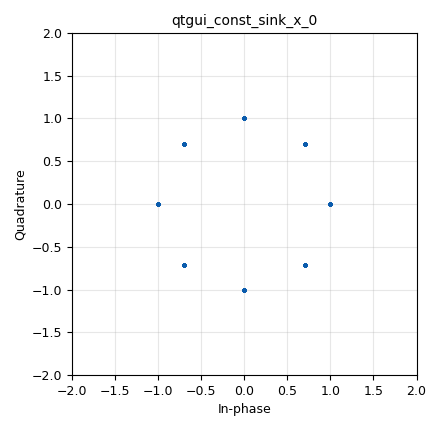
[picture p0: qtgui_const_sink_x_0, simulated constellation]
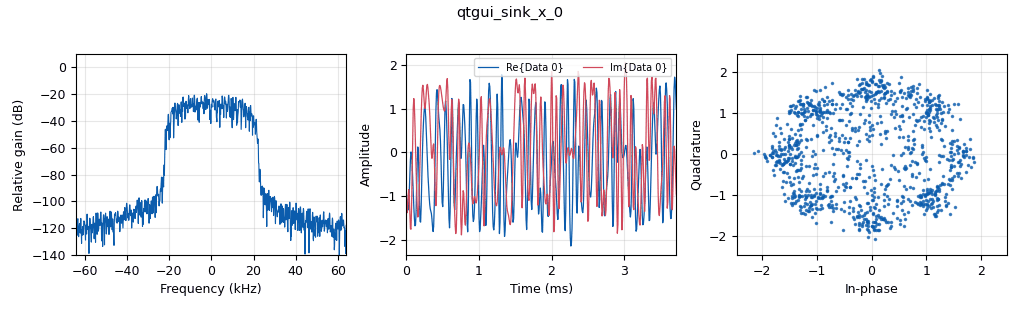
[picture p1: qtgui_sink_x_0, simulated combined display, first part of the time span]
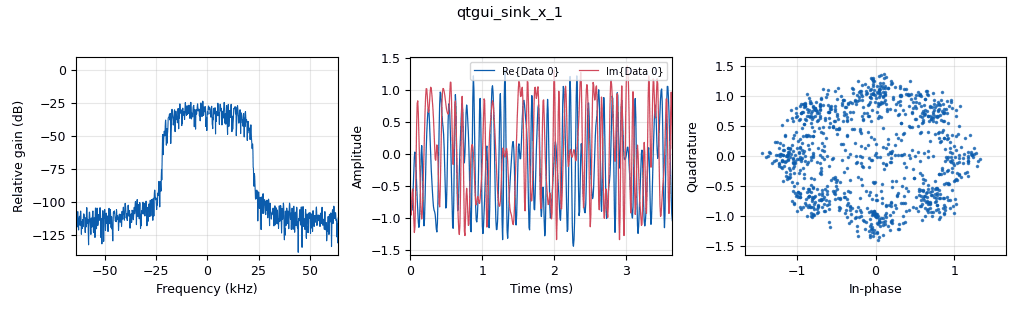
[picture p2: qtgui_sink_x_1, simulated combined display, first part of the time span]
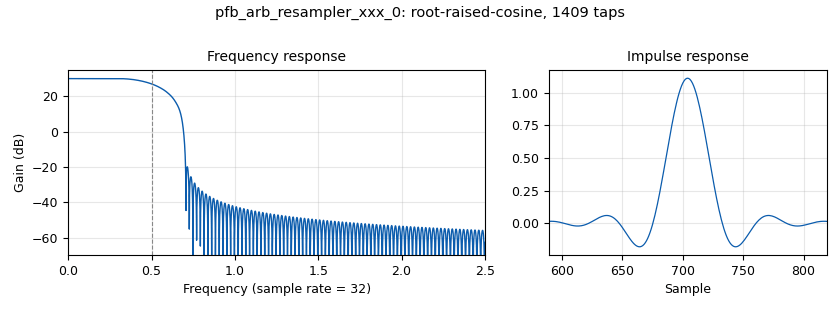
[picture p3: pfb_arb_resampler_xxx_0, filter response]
options:
  parameters:
    author: sumeet
    generate_options: qt_gui
    id: Task1
    output_language: python
    title: Not titled yet
  states: {}

blocks:
- name: nfilts
  id: variable
  parameters:
    value: '32'
  states: {}
- name: ntaps
  id: variable
  parameters:
    value: 11*nfilts*sps
  states: {}
- name: samp_rate
  id: variable
  parameters:
    value: '32000'
  states: {}
- name: sps
  id: variable
  parameters:
    value: '4'
  states: {}
- name: tx_taps
  id: variable
  parameters:
    value: firdes.root_raised_cosine(nfilts, nfilts, 1.0, 0.4, ntaps)
  states: {}
- name: TAB
  id: qtgui_tab_widget
  parameters:
    label0: Constellation
    label1: Low Pass (Post Polyphase)
    label2: Post Multipath
    num_tabs: '3'
  states: {}
- name: analog_random_source_x_0
  id: analog_random_source_x
  parameters:
    max: '8'
    min: '0'
    num_samps: '1000'
    repeat: 'True'
    type: byte
  states: {}
- name: blocks_add_xx_0
  id: blocks_add_xx
  parameters:
    type: complex
  states: {}
- name: blocks_delay_0
  id: blocks_delay
  parameters:
    delay: '1'
    type: complex
  states: {}
- name: blocks_multiply_const_vxx_0
  id: blocks_multiply_const_vxx
  parameters:
    const: '0.5'
    type: complex
  states: {}
- name: blocks_throttle_0_0
  id: blocks_throttle
  parameters:
    samples_per_second: 20e3
    type: complex
  states: {}
- name: blocks_throttle_1
  id: blocks_throttle
  parameters:
    samples_per_second: samp_rate*4
    type: complex
  states: {}
- name: digital_chunks_to_symbols_xx_0
  id: digital_chunks_to_symbols_xx
  parameters:
    dimension: '1'
    in_type: byte
    out_type: complex
    symbol_table: ((1),0.707*(1+1j),(1j),0.707*(-1 + 1j),(-1),0.707*(-1 - 1j),(-1j),0.707*(1 - 1j))
  states: {}
- name: import_0
  id: import
  parameters:
    imports: from math import pi
  states: {}
- name: import_0_0
  id: import
  parameters:
    imports: from gnuradio import digital
  states: {}
- name: import_0_0_0
  id: import
  parameters:
    imports: from gnuradio import filter
  states: {}
- name: pfb_arb_resampler_xxx_0
  id: pfb_arb_resampler_xxx
  parameters:
    atten: '100'
    nfilts: '32'
    rrate: sps
    taps: tx_taps
    type: ccf
  states: {}
- name: qtgui_const_sink_x_0
  id: qtgui_const_sink_x
  parameters:
    gui_hint: TAB@0
    size: '1024'
    type: complex
  states: {}
- name: qtgui_sink_x_0
  id: qtgui_sink_x
  parameters:
    bw: 4*samp_rate
    fc: '0'
    fftsize: '1024'
    gui_hint: TAB@2
    plotwaterfall: 'False'
    type: complex
  states: {}
- name: qtgui_sink_x_1
  id: qtgui_sink_x
  parameters:
    bw: samp_rate*4
    fc: '0'
    fftsize: '1024'
    gui_hint: TAB@1
    plotwaterfall: 'False'
    showports: 'True'
    type: complex
  states: {}

connections:
- [analog_random_source_x_0, '0', digital_chunks_to_symbols_xx_0, '0']
- [blocks_add_xx_0, '0', qtgui_sink_x_0, '0']
- [blocks_delay_0, '0', blocks_multiply_const_vxx_0, '0']
- [blocks_multiply_const_vxx_0, '0', blocks_add_xx_0, '1']
- [blocks_throttle_0_0, '0', qtgui_const_sink_x_0, '0']
- [blocks_throttle_1, '0', qtgui_sink_x_1, '0']
- [digital_chunks_to_symbols_xx_0, '0', blocks_throttle_0_0, '0']
- [digital_chunks_to_symbols_xx_0, '0', pfb_arb_resampler_xxx_0, '0']
- [pfb_arb_resampler_xxx_0, '0', blocks_add_xx_0, '0']
- [pfb_arb_resampler_xxx_0, '0', blocks_delay_0, '0']
- [pfb_arb_resampler_xxx_0, '0', blocks_throttle_1, '0']

metadata:
  file_format: 1
